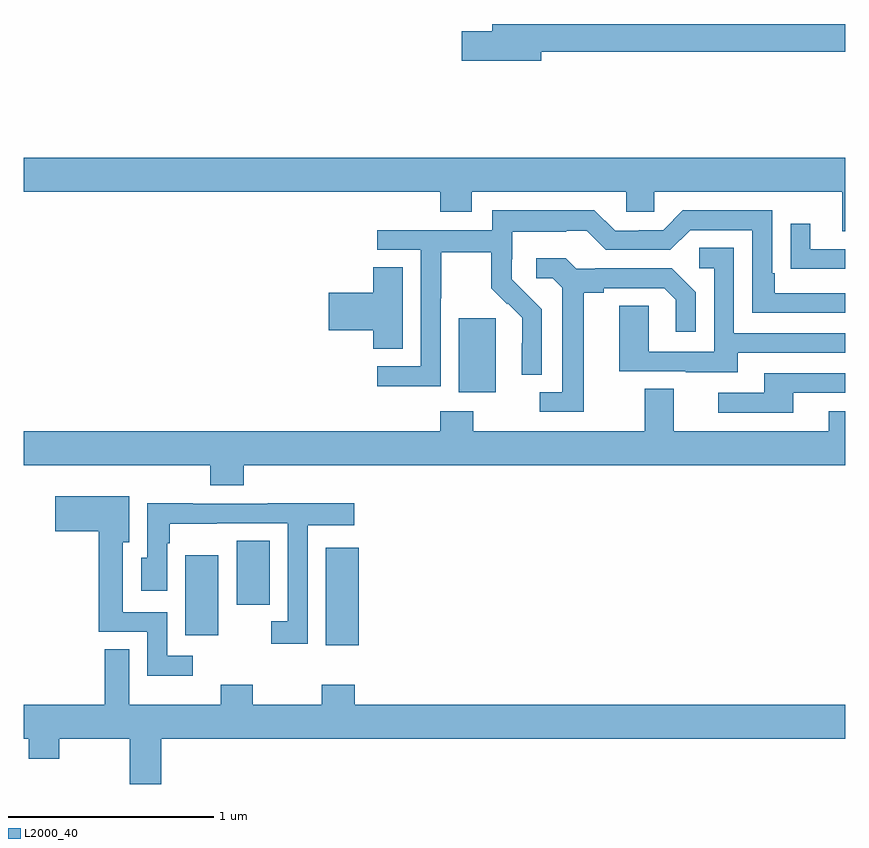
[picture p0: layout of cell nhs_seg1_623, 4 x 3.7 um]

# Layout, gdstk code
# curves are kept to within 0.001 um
import gdstk
lib = gdstk.Library(unit=1e-6, precision=1e-09)
def R(c, l, rs):  # rectangles x0, y0, x1, y1
    for r in rs: c.add(gdstk.rectangle(r[:2], r[2:], *l))
def P(c, l, *ps):  # polygons
    for p in ps: c.add(gdstk.Polygon(p, *l))
L2000_40 = (2000, 40)

nhs_seg1_623 = lib.new_cell('nhs_seg1_623')
R(nhs_seg1_623, L2000_40, [(146.471,530.874,146.632,531.349), (145.787,530.924,145.948,531.313), (146.036,531.072,146.197,531.383), (147.119,532.106,147.298,532.467)])
P(nhs_seg1_623, L2000_40, [(147.52,533.764),(149,533.764),(149,533.9),(147.281,533.9),(147.281,533.864),(147.132,533.864),(147.132,533.722),(147.52,533.722)],
  [(149,533.248),(145,533.248),(145,533.084),(147.029,533.084),(147.029,532.985),(147.181,532.985),(147.181,533.084),(147.933,533.084),(147.933,532.986),(148.071,532.986),(148.071,533.084),(148.985,533.084),(148.985,532.89),(149,532.89)],
  [(147.03,532.564),(147.033,532.564),(147.033,532.788),(147.277,532.788),(147.277,532.613),(147.354,532.536),(147.357,532.539),(147.428,532.469),(147.428,532.346),(147.426,532.346),(147.426,532.192),(147.522,532.192),(147.522,532.51),(147.376,532.658),(147.376,532.755),(147.378,532.755),(147.378,532.889),(147.641,532.889),(147.641,532.893),(147.741,532.893),(147.834,532.8),(148.149,532.8),(148.245,532.896),(148.548,532.896),(148.548,532.494),(149,532.494),(149,532.59),(148.657,532.59),(148.657,532.687),(148.644,532.687),(148.644,532.992),(148.209,532.992),(148.113,532.896),(147.995,532.896),(147.995,532.893),(147.879,532.893),(147.779,532.993),(147.282,532.993),(147.282,532.896),(146.721,532.896),(146.721,532.8),(146.934,532.8),(146.934,532.233),(146.721,532.233),(146.721,532.135),(147.03,532.135)],
  [(149,532.803),(148.831,532.803),(148.831,532.927),(148.735,532.927),(148.735,532.708),(148.837,532.708),(148.837,532.707),(149,532.707)],
  [(148.477,532.299),(149,532.299),(149,532.395),(148.458,532.395),(148.458,532.811),(148.29,532.811),(148.29,532.71),(148.362,532.71),(148.362,532.305),(148.044,532.305),(148.044,532.529),(147.899,532.529),(147.899,532.209),(148.223,532.209),(148.223,532.205),(148.477,532.205)],
  [(147.727,532.592),(147.823,532.592),(147.823,532.614),(148.118,532.614),(148.175,532.557),(148.175,532.401),(148.272,532.401),(148.272,532.594),(148.156,532.71),(147.784,532.71),(147.784,532.707),(147.69,532.707),(147.638,532.759),(147.495,532.759),(147.495,532.662),(147.576,532.662),(147.623,532.615),(147.623,532.107),(147.513,532.107),(147.513,532.011),(147.727,532.011)],
  [(146.845,532.715),(146.702,532.715),(146.702,532.592),(146.484,532.592),(146.484,532.409),(146.702,532.409),(146.702,532.318),(146.845,532.318)],
  [(148.747,532.104),(149,532.104),(149,532.2),(148.607,532.2),(148.607,532.104),(148.383,532.104),(148.383,532.008),(148.747,532.008)],
  [(146.072,531.752),(149,531.752),(149,532.015),(148.919,532.015),(148.919,531.916),(148.165,531.916),(148.165,532.124),(148.025,532.124),(148.025,531.916),(147.189,531.916),(147.189,532.015),(147.029,532.015),(147.029,531.916),(145,531.916),(145,531.752),(145.907,531.752),(145.907,531.653),(146.072,531.653)],
  [(145.822,530.823),(145.698,530.823),(145.698,531.036),(145.483,531.036),(145.483,531.377),(145.513,531.377),(145.513,531.601),(145.152,531.601),(145.152,531.431),(145.365,531.431),(145.365,530.94),(145.602,530.94),(145.602,530.726),(145.822,530.726)],
  [(146.382,531.458),(146.608,531.458),(146.608,531.566),(146.189,531.566),(146.189,531.564),(145.823,531.564),(145.823,531.566),(145.602,531.566),(145.602,531.3),(145.571,531.3),(145.571,531.141),(145.698,531.141),(145.698,531.371),(145.711,531.371),(145.711,531.467),(145.94,531.467),(145.94,531.468),(146.286,531.468),(146.286,530.991),(146.205,530.991),(146.205,530.883),(146.382,530.883)],
  [(145.67,530.42),(149,530.42),(149,530.584),(146.612,530.584),(146.612,530.683),(146.452,530.683),(146.452,530.584),(146.115,530.584),(146.115,530.683),(145.96,530.683),(145.96,530.584),(145.513,530.584),(145.513,530.855),(145.395,530.855),(145.395,530.584),(145,530.584),(145,530.42),(145.025,530.42),(145.025,530.321),(145.173,530.321),(145.173,530.42),(145.517,530.42),(145.517,530.199),(145.67,530.199)])

lib.write_gds('nhs_seg1_623.gds')
